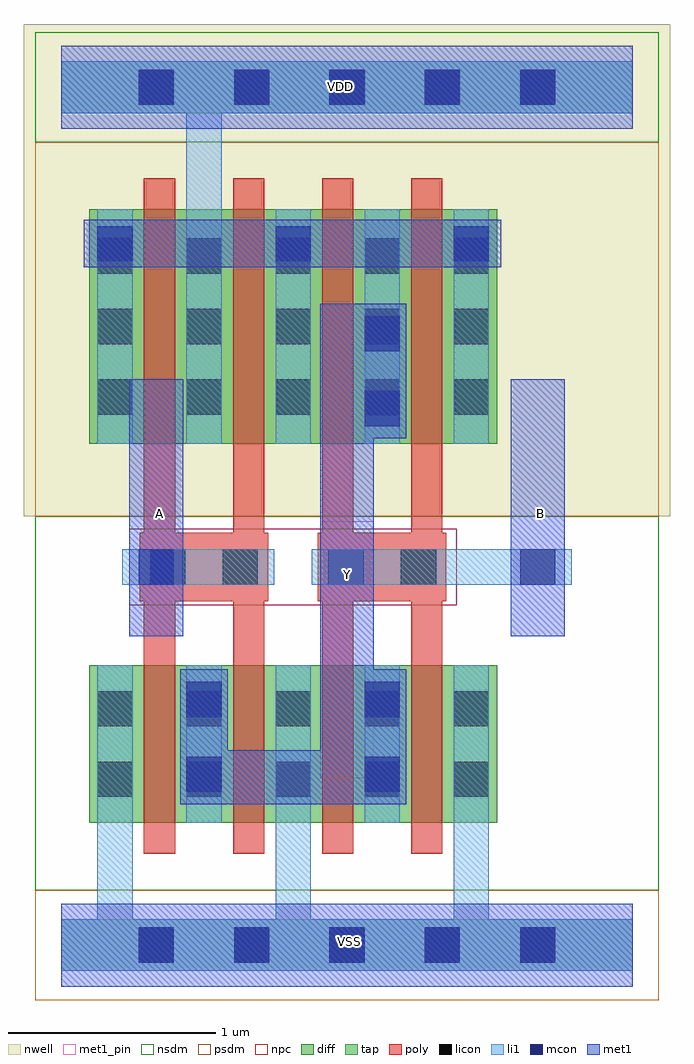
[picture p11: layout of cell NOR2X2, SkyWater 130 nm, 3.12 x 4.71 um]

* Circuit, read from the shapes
.subckt NOR2X2 A B VDD VSS Y
XM1 Y A VSS VSS sky130_fd_pr__nfet_01v8 w=0.76 l=0.15 m=2
XM2 Y B VSS VSS sky130_fd_pr__nfet_01v8 w=0.76 l=0.15 m=2
XM3 VDD A n1 VDD sky130_fd_pr__pfet_01v8 w=1.13 l=0.15 m=2
XM4 Y B n1 VDD sky130_fd_pr__pfet_01v8 w=1.13 l=0.15 m=2
.ends

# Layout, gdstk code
from math import pi, radians
import gdstk
lib = gdstk.Library(unit=1e-6, precision=1e-09)
def R(c, l, rs):  # rectangles x0, y0, x1, y1
    for r in rs: c.add(gdstk.rectangle(r[:2], r[2:], *l))
def A(c, l, x, y, w, h, nx, ny, dx, dy):  # array of equal rectangles
    R(c, l, [(x+i*dx, y+j*dy, x+i*dx+w, y+j*dy+h) for i in range(nx) for j in range(ny)])
def P(c, l, *ps):  # polygons
    for p in ps: c.add(gdstk.Polygon(p, *l))
nwell = (64, 20)
diff = (65, 20)
tap = (65, 44)
poly = (66, 20)
licon = (66, 44)
li1 = (67, 20)
mcon = (67, 44)
met1_pin = (68, 16)
met1 = (68, 20)
nsdm = (93, 44)
psdm = (94, 20)
npc = (95, 20)

pyl1con_c_cdns_751554744 = lib.new_cell('PYL1CON_C_CDNS_751554744751')
R(pyl1con_c_cdns_751554744, poly, [(-0.135,-0.165,0.135,0.165)])
R(pyl1con_c_cdns_751554744, licon, [(-0.085,-0.085,0.085,0.085)])
R(pyl1con_c_cdns_751554744, npc, [(-0.185,-0.185,0.185,0.185)])

l1m1_c_cdns_751554744750 = lib.new_cell('L1M1_C_CDNS_751554744750$$7')
R(l1m1_c_cdns_751554744750, li1, [(-0.085,-0.345,0.085,0.345)])
R(l1m1_c_cdns_751554744750, mcon, [(-0.085,-0.265,0.085,-0.095), (-0.085,0.095,0.085,0.265)])
R(l1m1_c_cdns_751554744750, met1, [(-0.115,-0.325,0.115,0.325)])

c_l1m1_c_cdns_751554744750 = lib.new_cell('L1M1_C_CDNS_751554744750$$9')
R(c_l1m1_c_cdns_751554744750, li1, [(-0.165,-0.085,0.165,0.085)])
R(c_l1m1_c_cdns_751554744750, mcon, [(-0.085,-0.085,0.085,0.085)])
R(c_l1m1_c_cdns_751554744750, met1, [(-0.115,-0.145,0.115,0.145)])

c_l1m1_c_cdns_751554744750_ = lib.new_cell('L1M1_C_CDNS_751554744750$$13')
R(c_l1m1_c_cdns_751554744750_, li1, [(-0.085,-0.165,0.085,0.165)])
R(c_l1m1_c_cdns_751554744750_, mcon, [(-0.085,-0.085,0.085,0.085)])
R(c_l1m1_c_cdns_751554744750_, met1, [(-0.145,-0.115,0.145,0.115)])

nor2x2 = lib.new_cell('NOR2X2')
R(nor2x2, nwell, [(-0.18,2.07,2.94,4.445)])
R(nor2x2, diff, [(0.135,0.59,2.105,1.35), (0.135,2.42,2.105,3.55)])
P(nor2x2, poly, [(1.86,1.99),(1.84,1.99),(1.84,3.7),(1.69,3.7),(1.69,1.99),(1.41,1.99),(1.41,3.7),(1.26,3.7),(1.26,1.99),(1.24,1.99),(1.24,1.66),(1.26,1.66),(1.26,0.44),(1.41,0.44),(1.41,1.66),(1.69,1.66),(1.69,0.44),(1.84,0.44),(1.84,1.66),(1.86,1.66)],
  [(1,1.99),(0.98,1.99),(0.98,3.7),(0.83,3.7),(0.83,1.99),(0.55,1.99),(0.55,3.7),(0.4,3.7),(0.4,1.99),(0.38,1.99),(0.38,1.66),(0.4,1.66),(0.4,0.44),(0.55,0.44),(0.55,1.66),(0.83,1.66),(0.83,0.44),(0.98,0.44),(0.98,1.66),(1,1.66)])
A(nor2x2, licon, 0.375, -0.085, 0.17, 0.17, 5, 2, 0.46, 4.14)
A(nor2x2, licon, 0.175, 0.715, 0.17, 0.17, 5, 2, 0.43, 0.34)
A(nor2x2, licon, 0.175, 2.56, 0.17, 0.17, 5, 3, 0.43, 0.34)
A(nor2x2, li1, 1.035, 2.42, 0.17, 1.13, 3, 1, 0.43, 0)
R(nor2x2, li1, [(0.605,0.59,0.775,1.35), (1.465,0.59,1.635,1.35), (0.175,2.42,0.345,3.55)])
P(nor2x2, li1, [(2.76,0.125),(2.065,0.125),(2.065,1.35),(1.895,1.35),(1.895,0.125),(1.205,0.125),(1.205,1.35),(1.035,1.35),(1.035,0.125),(0.345,0.125),(0.345,1.35),(0.175,1.35),(0.175,0.125),(0,0.125),(0,-0.125),(2.76,-0.125)],
  [(2.76,4.265),(0,4.265),(0,4.015),(0.605,4.015),(0.605,2.42),(0.775,2.42),(0.775,4.015),(2.76,4.015)])
A(nor2x2, mcon, 0.375, -0.085, 0.17, 0.17, 5, 2, 0.46, 4.14)
R(nor2x2, met1_pin, [(1.25,0.805,1.51,2.045), (0.33,1.49,0.59,2.73), (2.17,1.49,2.43,2.73)])
P(nor2x2, met1, [(1.51,3.095),(1.25,3.095),(1.25,0.94),(0.805,0.94),(0.805,1.005),(0.575,1.005),(0.575,0.68),(1.51,0.68)])
R(nor2x2, nsdm, [(-0.125,0.265,2.885,2.07), (-0.125,3.875,2.885,4.405)])
R(nor2x2, psdm, [(-0.125,-0.265,2.885,0.265), (-0.125,2.07,2.885,3.875)])
R(nor2x2, npc, [(0.33,1.64,1.91,2.01)])
nor2x2.add(gdstk.FlexPath([(2.135,1.825),(1.21,1.825)], 0.17, ends="flush", simple_path=True, layer=67, datatype=20))  # li1
nor2x2.add(gdstk.FlexPath([(1.03,1.825),(0.35,1.825)], 0.17, ends="flush", simple_path=True, layer=67, datatype=20))  # li1
nor2x2.add(gdstk.FlexPath([(2.3,1.49),(2.3,2.73)], 0.26, ends="flush", simple_path=True, layer=68, datatype=20))  # met1
nor2x2.add(gdstk.FlexPath([(0,4.14),(2.76,4.14)], 0.4, ends="flush", simple_path=True, layer=68, datatype=20))  # met1
nor2x2.add(gdstk.FlexPath([(2.12,3.385),(0.255,3.385)], 0.23, ends=(0, 0.145), simple_path=True, layer=68, datatype=20))  # met1
nor2x2.add(gdstk.FlexPath([(0,0),(2.76,0)], 0.4, ends="flush", simple_path=True, layer=68, datatype=20))  # met1
nor2x2.add(gdstk.FlexPath([(0.46,1.49),(0.46,2.73)], 0.26, ends="flush", simple_path=True, layer=68, datatype=20))  # met1
nor2x2.add(gdstk.FlexPath([(0,0),(2.76,0)], 0.25, ends="flush", simple_path=True, layer=65, datatype=44))  # tap
nor2x2.add(gdstk.FlexPath([(0,4.14),(2.76,4.14)], 0.25, ends="flush", simple_path=True, layer=65, datatype=44))  # tap
nor2x2.add(gdstk.FlexPath([(0,0),(2.76,0)], 0.4, ends="flush", simple_path=True, layer=68, datatype=16))  # met1_pin
nor2x2.add(gdstk.FlexPath([(0,4.14),(2.76,4.14)], 0.4, ends="flush", simple_path=True, layer=68, datatype=16))  # met1_pin
nor2x2.add(gdstk.Reference(pyl1con_c_cdns_751554744, (0.865,1.825), rotation=pi, x_reflection=True))
nor2x2.add(gdstk.Reference(pyl1con_c_cdns_751554744, (0.515,1.825), rotation=pi, x_reflection=True))
nor2x2.add(gdstk.Reference(pyl1con_c_cdns_751554744, (1.375,1.825), rotation=pi, x_reflection=True))
nor2x2.add(gdstk.Reference(pyl1con_c_cdns_751554744, (1.725,1.825), rotation=pi, x_reflection=True))
nor2x2.add(gdstk.Reference(l1m1_c_cdns_751554744750, (1.55,1.005)))
nor2x2.add(gdstk.Reference(l1m1_c_cdns_751554744750, (0.69,1.005)))
nor2x2.add(gdstk.Reference(l1m1_c_cdns_751554744750, (1.55,2.77)))
nor2x2.add(gdstk.Reference(c_l1m1_c_cdns_751554744750, (0.46,1.825), x_reflection=True))
nor2x2.add(gdstk.Reference(c_l1m1_c_cdns_751554744750, (2.3,1.825), x_reflection=True))
nor2x2.add(gdstk.Reference(c_l1m1_c_cdns_751554744750_, (1.12,3.385)))
nor2x2.add(gdstk.Reference(c_l1m1_c_cdns_751554744750_, (1.98,3.385)))
nor2x2.add(gdstk.Reference(c_l1m1_c_cdns_751554744750_, (0.26,3.385)))
nor2x2.add(gdstk.Label('A', (0.475,2.085), layer=68, texttype=5))
nor2x2.add(gdstk.Label('B', (2.315,2.085), layer=68, texttype=5))
nor2x2.add(gdstk.Label('VSS', (1.39,0.015), layer=68, texttype=5))
nor2x2.add(gdstk.Label('VDD', (1.35,4.145), layer=68, texttype=5))
nor2x2.add(gdstk.Label('Y', (1.38,1.79), layer=68, texttype=5))

lib.write_gds('NOR2X2.gds')
